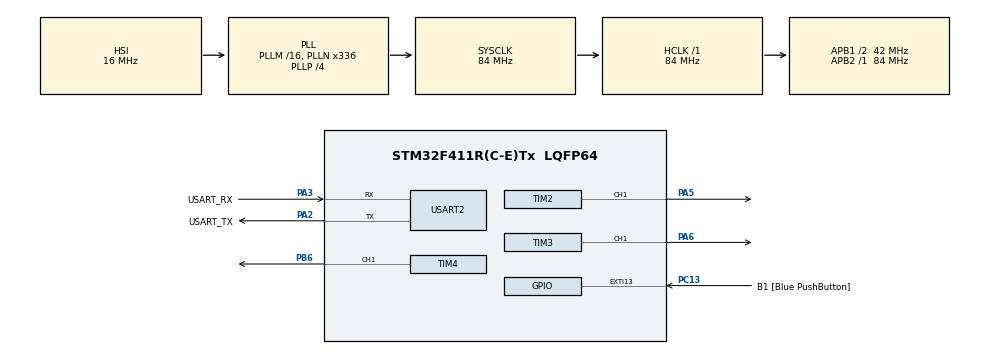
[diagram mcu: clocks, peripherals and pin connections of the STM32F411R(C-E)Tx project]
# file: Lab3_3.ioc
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Mcu.Family=STM32F4
Mcu.Name=STM32F411R(C-E)Tx
Mcu.Package=LQFP64
NVIC.PriorityGroup=NVIC_PRIORITYGROUP_0
NVIC.TIM2_IRQn=true\:0\:0\:false\:false\:true\:true\:true
NVIC.TIM3_IRQn=true\:0\:0\:false\:false\:true\:true\:true
NVIC.TIM4_IRQn=true\:0\:0\:false\:false\:true\:true\:true
PA13.GPIO_Label=TMS
PA13.Mode=Serial_Wire
PA13.Signal=SYS_JTMS-SWDIO
PA14.GPIO_Label=TCK
PA14.Mode=Serial_Wire
PA14.Signal=SYS_JTCK-SWCLK
PA2.GPIO_Label=USART_TX
PA2.Mode=Asynchronous
PA2.Signal=USART2_TX
PA3.GPIO_Label=USART_RX
PA3.Mode=Asynchronous
PA3.Signal=USART2_RX
PA5.Signal=S_TIM2_CH1_ETR
PA6.Signal=S_TIM3_CH1
PB3.GPIO_Label=SWO
PB3.Signal=SYS_JTDO-SWO
PB6.Signal=S_TIM4_CH1
PC13-ANTI_TAMP.GPIO_Label=B1 [Blue PushButton]
PC13-ANTI_TAMP.GPIO_ModeDefaultEXTI=GPIO_MODE_IT_FALLING
PC13-ANTI_TAMP.Signal=GPXTI13
PC14-OSC32_IN.Mode=LSE-External-Oscillator
PC14-OSC32_IN.Signal=RCC_OSC32_IN
PC15-OSC32_OUT.Mode=LSE-External-Oscillator
PC15-OSC32_OUT.Signal=RCC_OSC32_OUT
PH0\ -\ OSC_IN.Mode=HSE-External-Clock-Source
PH0\ -\ OSC_IN.Signal=RCC_OSC_IN
PH1\ -\ OSC_OUT.Mode=HSE-External-Clock-Source
PH1\ -\ OSC_OUT.Signal=RCC_OSC_OUT
ProjectManager.HeapSize=0x200
ProjectManager.StackSize=0x400
ProjectManager.TargetToolchain=STM32CubeIDE
RCC.48MHZClocksFreq_Value=84000000
RCC.AHBFreq_Value=84000000
RCC.APB1CLKDivider=RCC_HCLK_DIV2
RCC.APB1Freq_Value=42000000
RCC.APB1TimFreq_Value=84000000
RCC.APB2Freq_Value=84000000
RCC.APB2TimFreq_Value=84000000
RCC.CortexFreq_Value=84000000
RCC.FLatency-AdvancedSettings=FLASH_LATENCY_2
RCC.HCLKFreq_Value=84000000
RCC.HSE_VALUE=8000000
RCC.HSI_VALUE=16000000
RCC.PLLN=336
RCC.PLLP=RCC_PLLP_DIV4
RCC.SYSCLKFreq_VALUE=84000000
RCC.SYSCLKSource=RCC_SYSCLKSOURCE_PLLCLK
RCC.VCOOutputFreq_Value=336000000
SH.S_TIM2_CH1_ETR.0=TIM2_CH1,PWM Generation1 CH1
SH.S_TIM3_CH1.0=TIM3_CH1,PWM Generation1 CH1
SH.S_TIM4_CH1.0=TIM4_CH1,PWM Generation1 CH1
TIM2.AutoReloadPreload=TIM_AUTORELOAD_PRELOAD_ENABLE
TIM2.Channel-PWM\ Generation1\ CH1=TIM_CHANNEL_1
TIM2.Period=499999
TIM2.Prescaler=83
TIM2.Pulse-PWM\ Generation1\ CH1=250000
TIM3.AutoReloadPreload=TIM_AUTORELOAD_PRELOAD_ENABLE
TIM3.Channel-PWM\ Generation1\ CH1=TIM_CHANNEL_1
TIM3.Period=4904
TIM3.Prescaler=8399
TIM3.Pulse-PWM\ Generation1\ CH1=2452
TIM4.AutoReloadPreload=TIM_AUTORELOAD_PRELOAD_ENABLE
TIM4.Channel-PWM\ Generation1\ CH1=TIM_CHANNEL_1
TIM4.Period=4905
TIM4.Prescaler=8399
TIM4.Pulse-PWM\ Generation1\ CH1=2452
USART2.VirtualMode=VM_ASYNC
VP_TIM2_VS_ClockSourceINT.Mode=Internal
VP_TIM3_VS_ClockSourceINT.Mode=Internal
VP_TIM4_VS_ClockSourceINT.Mode=Internal
board=NUCLEO-F411RE

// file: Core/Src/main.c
/* USER CODE BEGIN Header */
/**
  ******************************************************************************
  * @file           : main.c
  * @brief          : Main program body
  ******************************************************************************
  * @attention
  *
  * Copyright (c) 2022 STMicroelectronics.
  * All rights reserved.
  *
  * This software is licensed under terms that can be found in the LICENSE file
  * in the root directory of this software component.
  * If no LICENSE file comes with this software, it is provided AS-IS.
  *
  ******************************************************************************
  */
/* USER CODE END Header */
#include "main.h"

TIM_HandleTypeDef htim2;
TIM_HandleTypeDef htim3;
TIM_HandleTypeDef htim4;

UART_HandleTypeDef huart2;

void SystemClock_Config(void);
static void MX_GPIO_Init(void);
static void MX_USART2_UART_Init(void);
static void MX_TIM2_Init(void);
static void MX_TIM3_Init(void);
static void MX_TIM4_Init(void);

/* USER CODE BEGIN 0 */
int tim2Clock = 0;
int tim3Clock = 0;

void HAL_TIM_PeriodElapsedCallback(TIM_HandleTypeDef *htim){
	if(htim->Instance == TIM2){
		tim2Clock++;
	}
	if(htim->Instance == TIM3){
		tim3Clock++;
	}
	if(htim->Instance == TIM4){
		char buffer[20];
		sprintf(buffer,"%d %d\r\n", tim2Clock,tim3Clock);
		HAL_UART_Transmit(&huart2, buffer, sizeof(buffer), HAL_MAX_DELAY);
	}
}

/* USER CODE END 0 */

int main(void)
{

  /* MCU Configuration--------------------------------------------------------*/

  /* Reset of all peripherals, Initializes the Flash interface and the Systick. */
  HAL_Init();

  /* Configure the system clock */
  SystemClock_Config();

  /* Initialize all configured peripherals */
  MX_GPIO_Init();
  MX_USART2_UART_Init();
  MX_TIM2_Init();
  MX_TIM3_Init();
  MX_TIM4_Init();
  /* USER CODE BEGIN 2 */
  HAL_TIM_PWM_Start(&htim2,
  TIM_CHANNEL_1);
  HAL_TIM_PWM_Start(&htim3,
  TIM_CHANNEL_1);
  HAL_TIM_PWM_Start(&htim4,
  TIM_CHANNEL_1);
  HAL_TIM_Base_Start_IT(&htim2);
  HAL_TIM_Base_Start_IT(&htim3);
  HAL_TIM_Base_Start_IT(&htim4);
  /* USER CODE END 2 */

  /* Infinite loop */
  while (1)
  {

  }
}

void SystemClock_Config(void)
{
  RCC_OscInitTypeDef RCC_OscInitStruct = {0};
  RCC_ClkInitTypeDef RCC_ClkInitStruct = {0};

  /** Configure the main internal regulator output voltage
  */
  __HAL_RCC_PWR_CLK_ENABLE();
  __HAL_PWR_VOLTAGESCALING_CONFIG(PWR_REGULATOR_VOLTAGE_SCALE1);
  /** Initializes the RCC Oscillators according to the specified parameters
  * in the RCC_OscInitTypeDef structure.
  */
  RCC_OscInitStruct.OscillatorType = RCC_OSCILLATORTYPE_HSI;
  RCC_OscInitStruct.HSIState = RCC_HSI_ON;
  RCC_OscInitStruct.HSICalibrationValue = RCC_HSICALIBRATION_DEFAULT;
  RCC_OscInitStruct.PLL.PLLState = RCC_PLL_ON;
  RCC_OscInitStruct.PLL.PLLSource = RCC_PLLSOURCE_HSI;
  RCC_OscInitStruct.PLL.PLLM = 16;
  RCC_OscInitStruct.PLL.PLLN = 336;
  RCC_OscInitStruct.PLL.PLLP = RCC_PLLP_DIV4;
  RCC_OscInitStruct.PLL.PLLQ = 4;
  if (HAL_RCC_OscConfig(&RCC_OscInitStruct) != HAL_OK)
  {
    Error_Handler();
  }
  /** Initializes the CPU, AHB and APB buses clocks
  */
  RCC_ClkInitStruct.ClockType = RCC_CLOCKTYPE_HCLK|RCC_CLOCKTYPE_SYSCLK
                              |RCC_CLOCKTYPE_PCLK1|RCC_CLOCKTYPE_PCLK2;
  RCC_ClkInitStruct.SYSCLKSource = RCC_SYSCLKSOURCE_PLLCLK;
  RCC_ClkInitStruct.AHBCLKDivider = RCC_SYSCLK_DIV1;
  RCC_ClkInitStruct.APB1CLKDivider = RCC_HCLK_DIV2;
  RCC_ClkInitStruct.APB2CLKDivider = RCC_HCLK_DIV1;

  if (HAL_RCC_ClockConfig(&RCC_ClkInitStruct, FLASH_LATENCY_2) != HAL_OK)
  {
    Error_Handler();
  }
}

static void MX_TIM2_Init(void)
{

  TIM_ClockConfigTypeDef sClockSourceConfig = {0};
  TIM_MasterConfigTypeDef sMasterConfig = {0};
  TIM_OC_InitTypeDef sConfigOC = {0};

  htim2.Instance = TIM2;
  htim2.Init.Prescaler = 83;
  htim2.Init.CounterMode = TIM_COUNTERMODE_UP;
  htim2.Init.Period = 499999;
  htim2.Init.ClockDivision = TIM_CLOCKDIVISION_DIV1;
  htim2.Init.AutoReloadPreload = TIM_AUTORELOAD_PRELOAD_ENABLE;
  if (HAL_TIM_Base_Init(&htim2) != HAL_OK)
  {
    Error_Handler();
  }
  sClockSourceConfig.ClockSource = TIM_CLOCKSOURCE_INTERNAL;
  if (HAL_TIM_ConfigClockSource(&htim2, &sClockSourceConfig) != HAL_OK)
  {
    Error_Handler();
  }
  if (HAL_TIM_PWM_Init(&htim2) != HAL_OK)
  {
    Error_Handler();
  }
  sMasterConfig.MasterOutputTrigger = TIM_TRGO_RESET;
  sMasterConfig.MasterSlaveMode = TIM_MASTERSLAVEMODE_DISABLE;
  if (HAL_TIMEx_MasterConfigSynchronization(&htim2, &sMasterConfig) != HAL_OK)
  {
    Error_Handler();
  }
  sConfigOC.OCMode = TIM_OCMODE_PWM1;
  sConfigOC.Pulse = 250000;
  sConfigOC.OCPolarity = TIM_OCPOLARITY_HIGH;
  sConfigOC.OCFastMode = TIM_OCFAST_DISABLE;
  if (HAL_TIM_PWM_ConfigChannel(&htim2, &sConfigOC, TIM_CHANNEL_1) != HAL_OK)
  {
    Error_Handler();
  }
  HAL_TIM_MspPostInit(&htim2);

}

static void MX_TIM3_Init(void)
{

  TIM_ClockConfigTypeDef sClockSourceConfig = {0};
  TIM_MasterConfigTypeDef sMasterConfig = {0};
  TIM_OC_InitTypeDef sConfigOC = {0};

  htim3.Instance = TIM3;
  htim3.Init.Prescaler = 8399;
  htim3.Init.CounterMode = TIM_COUNTERMODE_UP;
  htim3.Init.Period = 4904;
  htim3.Init.ClockDivision = TIM_CLOCKDIVISION_DIV1;
  htim3.Init.AutoReloadPreload = TIM_AUTORELOAD_PRELOAD_ENABLE;
  if (HAL_TIM_Base_Init(&htim3) != HAL_OK)
  {
    Error_Handler();
  }
  sClockSourceConfig.ClockSource = TIM_CLOCKSOURCE_INTERNAL;
  if (HAL_TIM_ConfigClockSource(&htim3, &sClockSourceConfig) != HAL_OK)
  {
    Error_Handler();
  }
  if (HAL_TIM_PWM_Init(&htim3) != HAL_OK)
  {
    Error_Handler();
  }
  sMasterConfig.MasterOutputTrigger = TIM_TRGO_RESET;
  sMasterConfig.MasterSlaveMode = TIM_MASTERSLAVEMODE_DISABLE;
  if (HAL_TIMEx_MasterConfigSynchronization(&htim3, &sMasterConfig) != HAL_OK)
  {
    Error_Handler();
  }
  sConfigOC.OCMode = TIM_OCMODE_PWM1;
  sConfigOC.Pulse = 2452;
  sConfigOC.OCPolarity = TIM_OCPOLARITY_HIGH;
  sConfigOC.OCFastMode = TIM_OCFAST_DISABLE;
  if (HAL_TIM_PWM_ConfigChannel(&htim3, &sConfigOC, TIM_CHANNEL_1) != HAL_OK)
  {
    Error_Handler();
  }
  HAL_TIM_MspPostInit(&htim3);

}

static void MX_TIM4_Init(void)
{

  TIM_ClockConfigTypeDef sClockSourceConfig = {0};
  TIM_MasterConfigTypeDef sMasterConfig = {0};
  TIM_OC_InitTypeDef sConfigOC = {0};

  htim4.Instance = TIM4;
  htim4.Init.Prescaler = 8399;
  htim4.Init.CounterMode = TIM_COUNTERMODE_UP;
  htim4.Init.Period = 4905;
  htim4.Init.ClockDivision = TIM_CLOCKDIVISION_DIV1;
  htim4.Init.AutoReloadPreload = TIM_AUTORELOAD_PRELOAD_ENABLE;
  if (HAL_TIM_Base_Init(&htim4) != HAL_OK)
  {
    Error_Handler();
  }
  sClockSourceConfig.ClockSource = TIM_CLOCKSOURCE_INTERNAL;
  if (HAL_TIM_ConfigClockSource(&htim4, &sClockSourceConfig) != HAL_OK)
  {
    Error_Handler();
  }
  if (HAL_TIM_PWM_Init(&htim4) != HAL_OK)
  {
    Error_Handler();
  }
  sMasterConfig.MasterOutputTrigger = TIM_TRGO_RESET;
  sMasterConfig.MasterSlaveMode = TIM_MASTERSLAVEMODE_DISABLE;
  if (HAL_TIMEx_MasterConfigSynchronization(&htim4, &sMasterConfig) != HAL_OK)
  {
    Error_Handler();
  }
  sConfigOC.OCMode = TIM_OCMODE_PWM1;
  sConfigOC.Pulse = 2452;
  sConfigOC.OCPolarity = TIM_OCPOLARITY_HIGH;
  sConfigOC.OCFastMode = TIM_OCFAST_DISABLE;
  if (HAL_TIM_PWM_ConfigChannel(&htim4, &sConfigOC, TIM_CHANNEL_1) != HAL_OK)
  {
    Error_Handler();
  }
  HAL_TIM_MspPostInit(&htim4);

}

static void MX_USART2_UART_Init(void)
{

  huart2.Instance = USART2;
  huart2.Init.BaudRate = 115200;
  huart2.Init.WordLength = UART_WORDLENGTH_8B;
  huart2.Init.StopBits = UART_STOPBITS_1;
  huart2.Init.Parity = UART_PARITY_NONE;
  huart2.Init.Mode = UART_MODE_TX_RX;
  huart2.Init.HwFlowCtl = UART_HWCONTROL_NONE;
  huart2.Init.OverSampling = UART_OVERSAMPLING_16;
  if (HAL_UART_Init(&huart2) != HAL_OK)
  {
    Error_Handler();
  }

}

static void MX_GPIO_Init(void)
{
  GPIO_InitTypeDef GPIO_InitStruct = {0};

  /* GPIO Ports Clock Enable */
  __HAL_RCC_GPIOC_CLK_ENABLE();
  __HAL_RCC_GPIOH_CLK_ENABLE();
  __HAL_RCC_GPIOA_CLK_ENABLE();
  __HAL_RCC_GPIOB_CLK_ENABLE();

  /*Configure GPIO pin : B1_Pin */
  GPIO_InitStruct.Pin = B1_Pin;
  GPIO_InitStruct.Mode = GPIO_MODE_IT_FALLING;
  GPIO_InitStruct.Pull = GPIO_NOPULL;
  HAL_GPIO_Init(B1_GPIO_Port, &GPIO_InitStruct);

}

void Error_Handler(void)
{
  __disable_irq();
  while (1)
  {
  }
}
